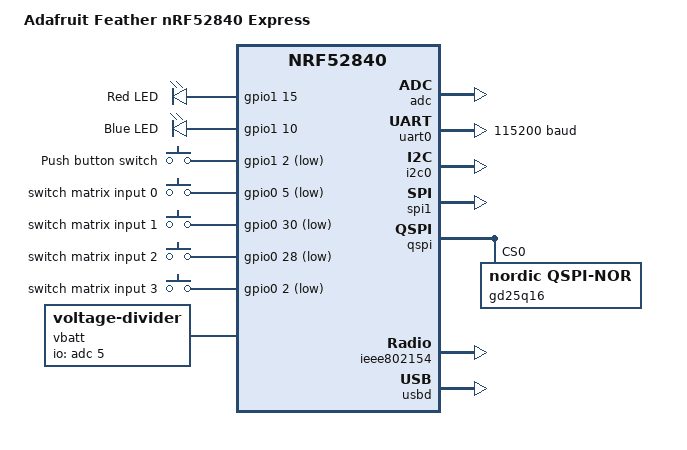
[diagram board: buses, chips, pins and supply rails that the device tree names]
/*
 * Copyright (c) 2020 Tobias Svehagen
 *
 * SPDX-License-Identifier: Apache-2.0
 */

/dts-v1/;
#include <nordic/nrf52840_qiaa.dtsi>
#include "feather_connector.dtsi"
#include "kb_nrf52840_feather-pinctrl.dtsi"
#include <zephyr/dt-bindings/input/input-event-codes.h>

/ {
	model = "Adafruit Feather nRF52840 Express";
	compatible = "adafruit,feather-nrf52840";

	chosen {
		zephyr,console = &uart0;
		zephyr,shell-uart = &uart0;
		zephyr,uart-mcumgr = &uart0;
		zephyr,bt-mon-uart = &uart0;
		zephyr,bt-c2h-uart = &uart0;
		zephyr,sram = &sram0;
		zephyr,flash = &flash0;
		zephyr,code-partition = &slot0_partition;
		zephyr,ieee802154 = &ieee802154;
	};

	leds {
		compatible = "gpio-leds";
		led0: led_0 {
			gpios = <&gpio1 15 0>;
			label = "Red LED";
		};
		led1: led_1 {
			gpios = <&gpio1 10 0>;
			label = "Blue LED";
		};
	};

	mtrxout {
        compatible = "kb-mtrx-out";
        swout0: sw_out_1{
            gpios = <&gpio0 13 GPIO_ACTIVE_LOW>;
            label = "switch matrix output 1"; 
        };
        swout1: sw_out_2{
            gpios = <&gpio0 15 GPIO_ACTIVE_LOW>;
            label = "switch matrix output 2"; 
        };
        swout2: sw_out_3{
            gpios = <&gpio0 24 GPIO_ACTIVE_LOW>;
            label = "switch matrix output 3"; 
        };
        swout3: sw_out_4{
            gpios = <&gpio0 25 GPIO_ACTIVE_LOW>;
            label = "switch matrix output 4"; 
        };
	};

	buttons {
		compatible = "gpio-keys";
		button0: button_0 {
			gpios = <&gpio1 2 (GPIO_PULL_UP | GPIO_ACTIVE_LOW)>;
			label = "Push button switch";
			zephyr,code = <INPUT_KEY_0>;
		};
        swin0: sw_in_0 {
            gpios = <&gpio0 5 (GPIO_PULL_UP | GPIO_ACTIVE_LOW)>; 
            label = "switch matrix input 0"; 
        };
        swin1: sw_in_1 {
            gpios = <&gpio0 30 (GPIO_PULL_UP | GPIO_ACTIVE_LOW)>; 
            label = "switch matrix input 1"; 
        };
        swin2: sw_in_2 {
            gpios = <&gpio0 28 (GPIO_PULL_UP | GPIO_ACTIVE_LOW)>; 
            label = "switch matrix input 2"; 
        };
        swin3: sw_in_3 {
            gpios = <&gpio0 2 (GPIO_PULL_UP | GPIO_ACTIVE_LOW)>; 
            label = "switch matrix input 3"; 
        };
	};

	vbatt {
		compatible = "voltage-divider";
		io-channels = <&adc 5>;
		output-ohms = <100000>;
		full-ohms = <(100000 + 100000)>;
	};

	/* These aliases are provided for compatibility with samples */
	aliases {
		led0 = &led0;
		led1 = &led1;
		sw0 = &button0;
		watchdog0 = &wdt0;
		spi-flash0 = &gd25q16;
	};
};

&adc {
	status = "okay";
};

&uicr {
	gpio-as-nreset;
};

&gpiote {
	status = "okay";
};

&gpio0 {
	status = "okay";
};

&gpio1 {
	status = "okay";
};

&uart0 {
	compatible = "nordic,nrf-uart";
	current-speed = <115200>;
	status = "okay";
	pinctrl-0 = <&uart0_default>;
	pinctrl-1 = <&uart0_sleep>;
	pinctrl-names = "default", "sleep";
};

&i2c0 {
	compatible = "nordic,nrf-twi";
	status = "okay";
	pinctrl-0 = <&i2c0_default>;
	pinctrl-1 = <&i2c0_sleep>;
	pinctrl-names = "default", "sleep";
};

&spi1 {
	compatible = "nordic,nrf-spi";
	status = "okay";
	pinctrl-0 = <&spi1_default>;
	pinctrl-1 = <&spi1_sleep>;
	pinctrl-names = "default", "sleep";
};

&qspi {
	status = "okay";
	pinctrl-0 = <&qspi_default>;
	pinctrl-1 = <&qspi_sleep>;
	pinctrl-names = "default", "sleep";
	gd25q16: gd25q16@0 {
		compatible = "nordic,qspi-nor";
		reg = <0>;
		writeoc = "pp4o";
		readoc = "read4io";
		sck-frequency = <16000000>;
		jedec-id = [c8 40 15];
		size = <16777216>;
		has-dpd;
		t-enter-dpd = <20000>;
		t-exit-dpd = <20000>;
		quad-enable-requirements = "S2B1v1";
	};
};

&ieee802154 {
	status = "okay";
};

&flash0 {

	partitions {
		compatible = "fixed-partitions";
		#address-cells = <1>;
		#size-cells = <1>;

		boot_partition: partition@0 {
			label = "mcuboot";
			reg = <0x00000000 0x0000C000>;
		};
		slot0_partition: partition@c000 {
			label = "image-0";
			reg = <0x0000C000 0x00067000>;
		};
		slot1_partition: partition@73000 {
			label = "image-1";
			reg = <0x00073000 0x00067000>;
		};
		scratch_partition: partition@da000 {
			label = "image-scratch";
			reg = <0x000da000 0x0001e000>;
		};

		/*
		 * The flash starting at 0x000f8000 and ending at
		 * 0x000fffff is reserved for use by the application.
		 */

		/* Storage partition will be used by FCB/NFFS/NVS if enabled. */
		storage_partition: partition@f8000 {
			label = "storage";
			reg = <0x000f8000 0x00008000>;
		};
	};
};

zephyr_udc0: &usbd {
	compatible = "nordic,nrf-usbd";
	status = "okay";
};
